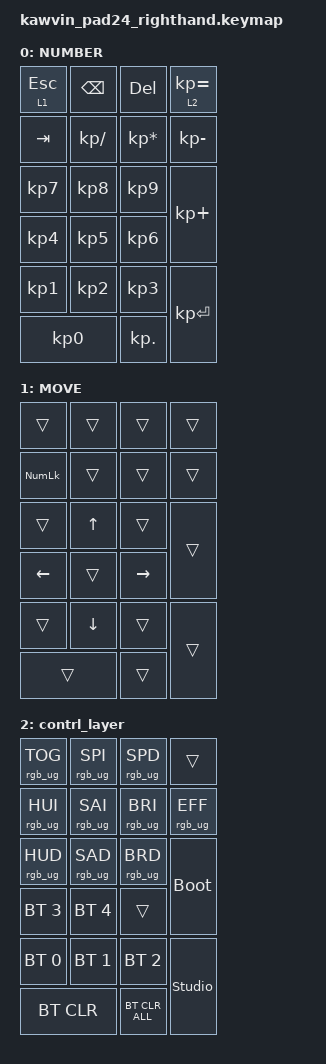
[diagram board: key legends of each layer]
/*
 * Copyright (c) 2021 The ZMK Contributors
 *
 * SPDX-License-Identifier: MIT
 */

#include <behaviors.dtsi>
#include <dt-bindings/zmk/bt.h>
#include <dt-bindings/zmk/keys.h>
#include <dt-bindings/zmk/rgb.h>

/ {
    keymap {
        compatible = "zmk,keymap";

        NUMBER {
            //  ---------------------------------------------------------------------------------
            //  |ESC        |TAB  |BSPC        |EQUAL|
            //  |NLCK       |SLASH|MULTIPLY    |MINUS|
            //  |7          |8    |9           |PLUS |
            //  |4          |5    |6           |     |
            //  |1          |2    |3           |ENTER|
            //  |&lt 2 KP_N0|     |&lt 5 KP_DOT|     |

            bindings = <
&lt 1 ESC  &kp BACKSPACE  &kp DEL          &lt 2 KP_EQUAL
&kp TAB    &kp KP_SLASH   &kp KP_MULTIPLY  &kp KP_MINUS
&kp KP_N7  &kp KP_N8      &kp KP_N9        &kp KP_PLUS
&kp KP_N4  &kp KP_N5      &kp KP_N6
&kp KP_N1  &kp KP_N2      &kp KP_N3        &kp KP_ENTER
&kp KP_N0  &kp KP_DOT
            >;
        };

        MOVE {
            bindings = <
&trans      &trans    &trans     &trans
&kp KP_NUM  &trans    &trans     &trans
&trans      &kp UP    &trans     &trans
&kp LEFT    &trans    &kp RIGHT
&trans      &kp DOWN  &trans     &trans
&trans      &trans
            >;
        };

        contrl_layer {
            //  ---------------------------------------------------------------------------------
            //  |    |    |    |    |
            //  |    |    |    |    |
            //  |    |    |    |    |
            //  |    |    |    |    |
            //  |    |    |    |    |
            //  |    |    |    |    |

            bindings = <
&rgb_ug RGB_TOG  &rgb_ug RGB_SPI  &rgb_ug RGB_SPD  &trans
&rgb_ug RGB_HUI  &rgb_ug RGB_SAI  &rgb_ug RGB_BRI  &rgb_ug RGB_EFF
&rgb_ug RGB_HUD  &rgb_ug RGB_SAD  &rgb_ug RGB_BRD  &bootloader
&bt BT_SEL 3     &bt BT_SEL 4     &trans
&bt BT_SEL 0     &bt BT_SEL 1     &bt BT_SEL 2     &studio_unlock
&bt BT_CLR       &bt BT_CLR_ALL
            >;
        };
    };
};
